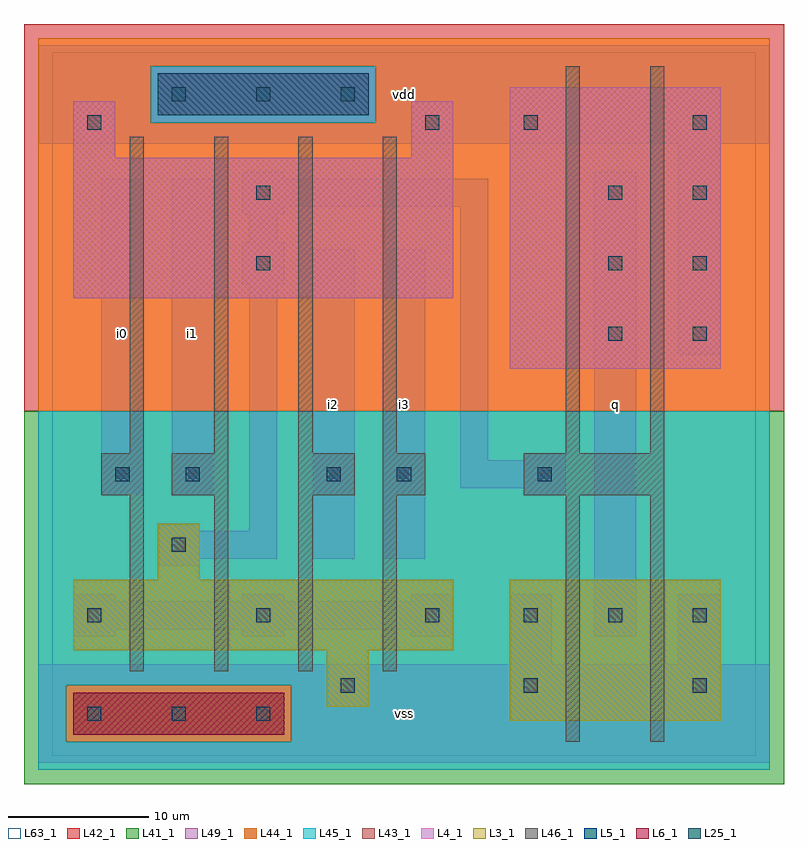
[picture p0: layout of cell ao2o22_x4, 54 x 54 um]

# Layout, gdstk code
import gdstk
lib = gdstk.Library(unit=1e-6, precision=1e-09)
def R(c, l, rs):  # rectangles x0, y0, x1, y1
    for r in rs: c.add(gdstk.rectangle(r[:2], r[2:], *l))
def A(c, l, x, y, w, h, nx, ny, dx, dy):  # array of equal rectangles
    R(c, l, [(x+i*dx, y+j*dy, x+i*dx+w, y+j*dy+h) for i in range(nx) for j in range(ny)])
L3_1 = (3, 1)
L4_1 = (4, 1)
L5_1 = (5, 1)
L6_1 = (6, 1)
L25_1 = (25, 1)
L41_1 = (41, 1)
L42_1 = (42, 1)
L43_1 = (43, 1)
L44_1 = (44, 1)
L45_1 = (45, 1)
L46_1 = (46, 1)
L49_1 = (49, 1)
L63_1 = (63, 1)

ao2o22_x4 = lib.new_cell('ao2o22_x4')
R(ao2o22_x4, L3_1, [(32.5,2.5,47.5,12.5), (19.5,3.5,22.5,7.5), (1.5,7.5,28.5,12.5), (7.5,12.5,10.5,16.5)])
R(ao2o22_x4, L4_1, [(32.5,27.5,47.5,47.5), (1.5,32.5,28.5,42.5), (1.5,42.5,4.5,46.5), (25.5,42.5,28.5,46.5)])
R(ao2o22_x4, L5_1, [(7.5,45.5,22.5,48.5)])
R(ao2o22_x4, L6_1, [(1.5,1.5,16.5,4.5)])
A(ao2o22_x4, L25_1, 2.5, 2.5, 1, 1, 3, 1, 6, 0)
A(ao2o22_x4, L25_1, 2.5, 9.5, 1, 1, 3, 1, 12, 0)
A(ao2o22_x4, L25_1, 33.5, 9.5, 1, 1, 3, 1, 6, 0)
A(ao2o22_x4, L25_1, 39.5, 29.5, 1, 1, 1, 3, 0, 5)
A(ao2o22_x4, L25_1, 45.5, 29.5, 1, 1, 1, 4, 0, 5)
A(ao2o22_x4, L25_1, 8.5, 46.5, 1, 1, 3, 1, 6, 0)
R(ao2o22_x4, L25_1, [(20.5,4.5,21.5,5.5), (33.5,4.5,34.5,5.5), (45.5,4.5,46.5,5.5), (8.5,14.5,9.5,15.5), (4.5,19.5,5.5,20.5), (9.5,19.5,10.5,20.5), (19.5,19.5,20.5,20.5), (24.5,19.5,25.5,20.5), (34.5,19.5,35.5,20.5), (14.5,34.5,15.5,35.5), (14.5,39.5,15.5,40.5), (2.5,44.5,3.5,45.5), (26.5,44.5,27.5,45.5), (33.5,44.5,34.5,45.5)])
R(ao2o22_x4, L41_1, [(-2,-2,52,24.5)])
R(ao2o22_x4, L42_1, [(-2,24.5,52,52)])
R(ao2o22_x4, L43_1, [(1.5,1.5,16.5,4.5), (32.5,2.5,47.5,12.5), (19.5,3.5,22.5,7.5), (1.5,7.5,28.5,12.5), (7.5,12.5,10.5,16.5), (32.5,27.5,47.5,47.5), (1.5,32.5,28.5,42.5), (1.5,42.5,4.5,46.5), (25.5,42.5,28.5,46.5), (7.5,45.5,22.5,48.5)])
R(ao2o22_x4, L44_1, [(1,1,17,5), (-1,24.5,51,45), (-1,45,7,49), (23,45,51,49), (-1,49,51,51)])
R(ao2o22_x4, L45_1, [(-1,-1,51,1), (-1,1,1,5), (17,1,51,5), (-1,5,51,24.5), (7,45,23,49)])
A(ao2o22_x4, L46_1, 5.5, 6, 1, 12.5, 4, 1, 6, 0)
A(ao2o22_x4, L46_1, 5.5, 21.5, 1, 22.5, 4, 1, 6, 0)
R(ao2o22_x4, L46_1, [(36.5,1,37.5,18.5), (42.5,1,43.5,18.5), (3.5,18.5,6.5,21.5), (8.5,18.5,12.5,21.5), (17.5,18.5,21.5,21.5), (23.5,18.5,26.5,21.5), (33.5,18.5,43.5,21.5), (36.5,21.5,37.5,49), (42.5,21.5,43.5,49)])
A(ao2o22_x4, L49_1, 1.5, 8.5, 3, 0.5, 3, 2, 12, 2.5)
R(ao2o22_x4, L49_1, [(-1,-0.5,51,6.5), (32.5,6.5,35.5,11.5), (44.5,6.5,47.5,11.5), (38.5,8.5,41.5,41.5), (1.5,9,28.5,11), (7.5,13.5,10.5,14), (7.5,14,16,16), (18.5,14,21.5,36), (23.5,14,26.5,36), (7.5,16,10.5,16.5), (14,16,16,33.5), (3.5,18.5,6.5,41), (8.5,18.5,11.5,41), (33.5,18.5,36.5,19), (29,19,36.5,21), (29,21,31,39), (33.5,21,36.5,21.5), (44.5,28.5,47.5,43.5), (13.5,33.5,16.5,36.5), (14,36.5,16,38.5), (13.5,38.5,16.5,39), (13.5,39,31,41), (13.5,41,16.5,41.5), (-1,43.5,51,50.5)])
R(ao2o22_x4, L63_1, [(0,0,50,50)])
ao2o22_x4.add(gdstk.Label('i1', (10,30), layer=49, texttype=1))
ao2o22_x4.add(gdstk.Label('i0', (5,30), layer=49, texttype=1))
ao2o22_x4.add(gdstk.Label('i1', (10,30), layer=49, texttype=1))
ao2o22_x4.add(gdstk.Label('i0', (5,30), layer=49, texttype=1))
ao2o22_x4.add(gdstk.Label('i2', (20,25), layer=49, texttype=1))
ao2o22_x4.add(gdstk.Label('i2', (20,25), layer=49, texttype=1))
ao2o22_x4.add(gdstk.Label('vss', (25,3), layer=49, texttype=1))
ao2o22_x4.add(gdstk.Label('vss', (25,3), layer=49, texttype=1))
ao2o22_x4.add(gdstk.Label('i3', (25,25), layer=49, texttype=1))
ao2o22_x4.add(gdstk.Label('i3', (25,25), layer=49, texttype=1))
ao2o22_x4.add(gdstk.Label('vdd', (25,47), layer=49, texttype=1))
ao2o22_x4.add(gdstk.Label('vdd', (25,47), layer=49, texttype=1))
ao2o22_x4.add(gdstk.Label('q', (40,25), layer=49, texttype=1))
ao2o22_x4.add(gdstk.Label('q', (40,25), layer=49, texttype=1))

lib.write_gds('ao2o22_x4.gds')
